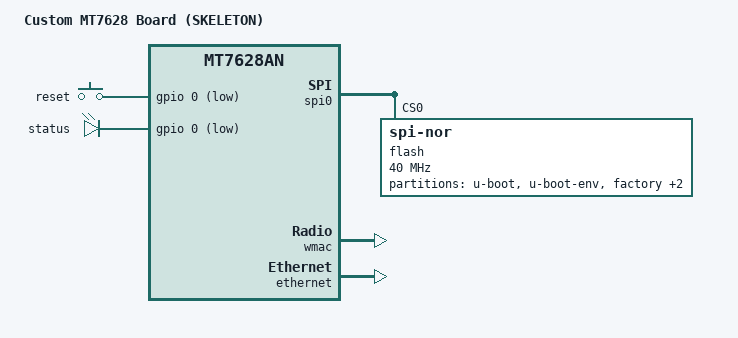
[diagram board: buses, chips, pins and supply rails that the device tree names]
// SPDX-License-Identifier: GPL-2.0-or-later
/*
 * SKELETON device tree for a custom MediaTek MT7628AN board.
 *
 *   SoC:   MT7628AN (MIPS 24KEc, little-endian)
 *   RAM:   16-bit DDR2, 128 MB   (DDR init lives in U-Boot / MediaTek BSP —
 *                                 OUT OF IMAGE SCOPE, see STEP 3)
 *   Flash: 16 MB SPI-NOR
 *   WiFi:  built-in 2.4 GHz 802.11n (mt7603, calibration from "factory" MTD)
 *
 * This is a SKELETON. Before a real build, fill in the items marked  TODO:
 *   - reset button GPIO pin        (STEP 4)
 *   - status LED GPIO pin          (STEP 4)
 *   - validate ethernet/switch port wiring against the schematic
 *
 * Flash partition offsets MUST stay in sync with src/flash_layout.py
 * (MT7628_16M_LAYOUT). Change offsets in ONE place — the layout module —
 * and mirror them here.
 *
 * Build note (path B / Buildroot + mainline): mainline has no OpenWrt
 * mtdsplit auto-split of a single "firmware" partition, so the firmware
 * region (0x050000..end) is split into EXPLICIT "kernel" + "rootfs"
 * partitions below.
 */

/dts-v1/;

#include "mt7628a.dtsi"

#include <dt-bindings/gpio/gpio.h>
#include <dt-bindings/input/input.h>

/ {
	compatible = "custom,mt7628-board", "ralink,mt7628an-soc";
	model = "Custom MT7628 Board (SKELETON)";

	chosen {
		/* rootfs partition is resolved from the "rootfs" MTD partition
		 * (see &spi0 flash below). U-Boot passes the kernel; root= is
		 * pinned to the rootfs mtdblock. */
		bootargs = "console=ttyS0,115200 rootfstype=squashfs,jffs2";
	};

	aliases {
		led-boot = &led_status;
		led-running = &led_status;
	};

	/* ---- GPIO placeholders — STEP 4 (edit one line per pin) ---- */
	keys {
		compatible = "gpio-keys";

		reset {
			label = "reset";
			/* TODO: set real reset-button pin from EasyEDA schematic */
			gpios = <&gpio 0 GPIO_ACTIVE_LOW>;   /* TODO pin */
			linux,code = <KEY_RESTART>;
		};
	};

	leds {
		compatible = "gpio-leds";

		led_status: status {
			label = "status";
			/* TODO: set real status-LED pin from EasyEDA schematic */
			gpios = <&gpio 0 GPIO_ACTIVE_LOW>;   /* TODO pin */
		};
	};
};

/* ---------------- SPI-NOR 16 MB — STEP 1 layout ----------------
 * Offsets are the ramips MT7628 16M convention. Keep in sync with
 * src/flash_layout.py:MT7628_16M_LAYOUT.
 */
&spi0 {
	status = "okay";

	flash@0 {
		compatible = "jedec,spi-nor";
		reg = <0>;
		spi-max-frequency = <40000000>;

		partitions {
			compatible = "fixed-partitions";
			#address-cells = <1>;
			#size-cells = <1>;

			partition@0 {
				label = "u-boot";
				reg = <0x000000 0x030000>;      /* 192k */
				read-only;
			};

			partition@30000 {
				label = "u-boot-env";
				reg = <0x030000 0x010000>;      /* 64k */
				read-only;
			};

			/* ART / EEPROM — per-device (MAC + RF calibration).
			 * NEVER written by the image assembler (STEP 2). */
			factory: partition@40000 {
				label = "factory";
				reg = <0x040000 0x010000>;      /* 64k */
				read-only;

				nvmem-layout {
					compatible = "fixed-layout";
					#address-cells = <1>;
					#size-cells = <1>;

					eeprom_factory_0: eeprom@0 {
						reg = <0x0 0x400>;
					};

					macaddr_factory_4: macaddr@4 {
						reg = <0x4 0x6>;
					};
				};
			};

			/* firmware region (0x050000..end, ~16064k) split EXPLICITLY
			 * into kernel + rootfs because mainline has no mtdsplit.
			 * kernel size is a PARAMETER (flash_layout.py: kernel size).
			 * rootfs grows to end of flash. */
			partition@50000 {
				label = "kernel";
				reg = <0x050000 0x200000>;      /* 2M cap — TODO size to real uImage */
			};

			partition@250000 {
				label = "rootfs";
				reg = <0x250000 0xdb0000>;      /* to end of 16M flash */
			};
		};
	};
};

/* ---------------- built-in 2.4 GHz WiFi (mt7603) ----------------
 * Calibration EEPROM read from the "factory" MTD partition @ 0x0.
 * Using the widely-compatible mediatek,mtd-eeprom form; the nvmem-cells
 * form (nvmem-cells = <&eeprom_factory_0>) is the newer alternative.
 */
&wmac {
	status = "okay";
	mediatek,mtd-eeprom = <&factory 0x0000>;
};

/* ---------------- ethernet / built-in switch ----------------
 * mt7628a.dtsi provides &ethernet and the built-in switch. Enable and
 * validate port wiring against the schematic (TODO).
 */
&ethernet {
	status = "okay";
	/* TODO: confirm LAN/WAN port split + phy-mode against schematic */
};
